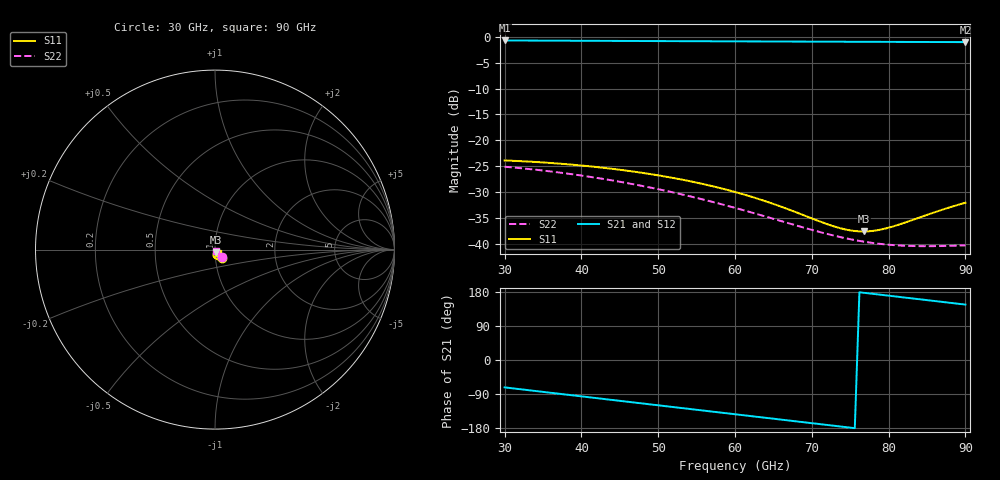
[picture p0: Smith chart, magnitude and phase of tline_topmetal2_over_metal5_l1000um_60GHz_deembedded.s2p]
! Created with skrf 2.0.1 (http://scikit-rf.org).
# GHz S DB R 50.0
!freq dBS11 angS11 dBS21 angS21 dBS12 angS12 dBS22 angS22
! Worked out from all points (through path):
!   101 points, 30 GHz to 90 GHz, reference 50 ohm
!   highest |S21| = -0.67 dB at 30 GHz (marker M1); lowest = -1.0 dB at 90 GHz (marker M2)
!   group delay of S21, straight-line fit = 6.55 ps
!   lowest |S11| = -37.7 dB at 76.8 GHz (marker M3), VSWR 1.03, Z = 50.3 - j1.28 ohm
!   |S11| at or under -10 dB: start of sweep to end of sweep
!   |S22| runs from -40.5 to -25.1 dB; largest |S21 - S12| = 1.1e-14
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30  -23.90 -50.2  -0.67 -72.3  -0.67 -72.3  -25.11 -47.1
33  -24.11 -57.0  -0.69 -79.4  -0.69 -79.4  -25.53 -53.2
35.4  -24.33 -62.2  -0.70 -85.1  -0.70 -85.1  -25.92 -58.0
37.8  -24.59 -67.4  -0.72 -90.7  -0.72 -90.7  -26.37 -62.6
40.2  -24.91 -72.5  -0.73 -96.4  -0.73 -96.4  -26.87 -67.1
42.6  -25.28 -77.5  -0.75 -102.1  -0.75 -102.1  -27.42 -71.3
45  -25.70 -82.3  -0.76 -107.8  -0.76 -107.8  -28.02 -75.4
47.4  -26.19 -87.0  -0.77 -113.4  -0.77 -113.4  -28.69 -79.2
50.4  -26.89 -92.5  -0.79 -120.5  -0.79 -120.5  -29.59 -83.5
55.2  -28.26 -100.4  -0.82 -131.8  -0.82 -131.8  -31.22 -89.3
60  -30.00 -106.4  -0.84 -143.1  -0.84 -143.1  -33.08 -93.1
63  -31.33 -108.7  -0.86 -150.2  -0.86 -150.2  -34.33 -94.0
65.4  -32.53 -109.2  -0.87 -155.9  -0.87 -155.9  -35.37 -93.8
67.8  -33.85 -107.9  -0.88 -161.5  -0.88 -161.5  -36.41 -92.7
70.2  -35.23 -104.1  -0.90 -167.2  -0.90 -167.2  -37.42 -90.4
73.8  -37.06 -92.0  -0.91 -175.7  -0.91 -175.7  -38.77 -84.9
75.6  -37.56 -83.1  -0.92 -179.9  -0.92 -179.9  -39.32 -81.4
76.8  -37.65 -76.6  -0.93 177.3  -0.93 177.3  -39.63 -78.8
78.6  -37.39 -67.2  -0.94 173.1  -0.94 173.1  -40.00 -74.8
80.4  -36.76 -59.3  -0.94 168.8  -0.94 168.8  -40.26 -70.8
85.2  -34.34 -47.8  -0.97 157.5  -0.97 157.5  -40.50 -60.9
90  -32.09 -46.1  -0.99 146.2  -0.99 146.2  -40.34 -53.4
